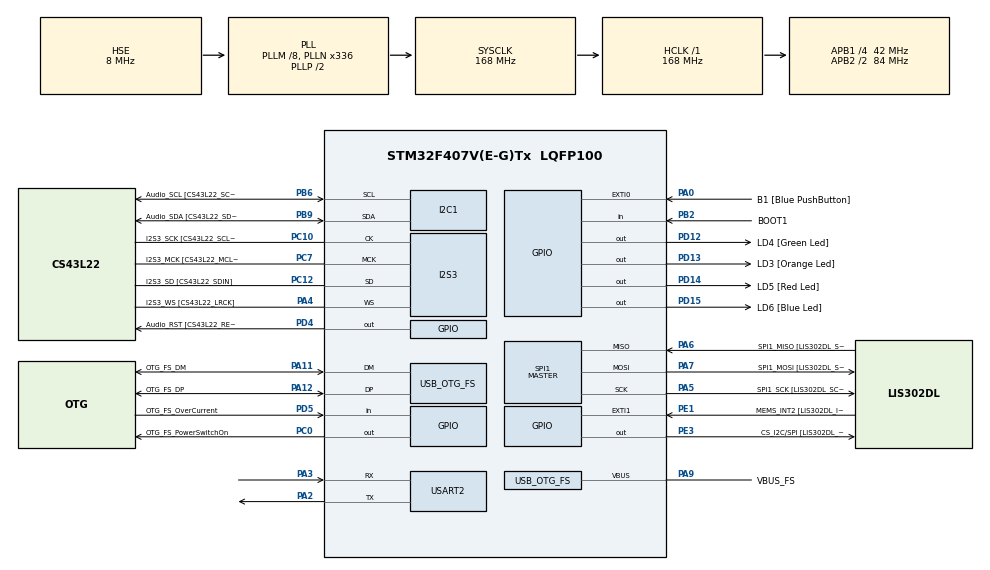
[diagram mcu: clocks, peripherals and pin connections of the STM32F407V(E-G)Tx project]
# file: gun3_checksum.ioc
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I2S3.AudioFreq-Half_Duplex_Master=I2S_AUDIOFREQ_96K
I2S3.ErrorAudioFreq=-2.34 %
I2S3.ErrorAudioFreq-Half_Duplex_Master=0.8 %
I2S3.FullDuplexMode=I2S_FULLDUPLEXMODE_DISABLE
I2S3.Instance=SPI$Index
I2S3.RealAudioFreq=93.75 KHz
I2S3.RealAudioFreq-Half_Duplex_Master=96.774 KHz
I2S3.VirtualMode=I2S_MODE_MASTER
Mcu.Family=STM32F4
Mcu.Name=STM32F407V(E-G)Tx
Mcu.Package=LQFP100
NVIC.OTG_FS_IRQn=true\:0\:0\:false\:false\:true\:true\:true\:true
NVIC.PriorityGroup=NVIC_PRIORITYGROUP_0
PA0-WKUP.GPIO_Label=B1 [Blue PushButton]
PA0-WKUP.GPIO_ModeDefaultEXTI=GPIO_MODE_EVT_RISING
PA0-WKUP.GPIO_PuPd=GPIO_NOPULL
PA0-WKUP.Signal=GPXTI0
PA10.GPIO_Label=OTG_FS_ID
PA10.GPIO_Mode=GPIO_MODE_AF_PP
PA10.GPIO_PuPd=GPIO_NOPULL
PA10.GPIO_Speed=GPIO_SPEED_FREQ_LOW
PA10.Signal=USB_OTG_FS_ID
PA11.GPIO_Label=OTG_FS_DM
PA11.GPIO_Mode=GPIO_MODE_AF_PP
PA11.GPIO_PuPd=GPIO_NOPULL
PA11.GPIO_Speed=GPIO_SPEED_FREQ_LOW
PA11.Mode=Host_Only
PA11.Signal=USB_OTG_FS_DM
PA12.GPIO_Label=OTG_FS_DP
PA12.GPIO_Mode=GPIO_MODE_AF_PP
PA12.GPIO_PuPd=GPIO_NOPULL
PA12.GPIO_Speed=GPIO_SPEED_FREQ_LOW
PA12.Mode=Host_Only
PA12.Signal=USB_OTG_FS_DP
PA13.GPIO_Label=SWDIO
PA13.Mode=Serial_Wire
PA13.Signal=SYS_JTMS-SWDIO
PA14.GPIO_Label=SWCLK
PA14.Mode=Serial_Wire
PA14.Signal=SYS_JTCK-SWCLK
PA2.Mode=Asynchronous
PA2.Signal=USART2_TX
PA3.Mode=Asynchronous
PA3.Signal=USART2_RX
PA4.GPIO_Label=I2S3_WS [CS43L22_LRCK]
PA4.GPIO_Mode=GPIO_MODE_AF_PP
PA4.GPIO_PuPd=GPIO_NOPULL
PA4.GPIO_Speed=GPIO_SPEED_FREQ_LOW
PA4.Mode=Half_Duplex_Master
PA4.Signal=I2S3_WS
PA5.GPIO_Label=SPI1_SCK [LIS302DL_SCL/SPC]
PA5.GPIO_Mode=GPIO_MODE_AF_PP
PA5.GPIO_PuPd=GPIO_NOPULL
PA5.GPIO_Speed=GPIO_SPEED_FREQ_LOW
PA5.Mode=Full_Duplex_Master
PA5.Signal=SPI1_SCK
PA6.GPIO_Label=SPI1_MISO [LIS302DL_SDO]
PA6.GPIO_Mode=GPIO_MODE_AF_PP
PA6.GPIO_PuPd=GPIO_NOPULL
PA6.GPIO_Speed=GPIO_SPEED_FREQ_LOW
PA6.Mode=Full_Duplex_Master
PA6.Signal=SPI1_MISO
PA7.GPIO_Label=SPI1_MOSI [LIS302DL_SDA/SDI/SDO]
PA7.GPIO_Mode=GPIO_MODE_AF_PP
PA7.GPIO_PuPd=GPIO_NOPULL
PA7.GPIO_Speed=GPIO_SPEED_FREQ_LOW
PA7.Mode=Full_Duplex_Master
PA7.Signal=SPI1_MOSI
PA9.GPIO_Label=VBUS_FS
PA9.GPIO_Mode=GPIO_MODE_INPUT
PA9.GPIO_PuPd=GPIO_NOPULL
PA9.Mode=Activate_VBUS
PA9.Signal=USB_OTG_FS_VBUS
PB10.GPIO_Label=CLK_IN [MP45DT02_CLK]
PB10.GPIO_Mode=GPIO_MODE_AF_PP
PB10.GPIO_PuPd=GPIO_NOPULL
PB10.GPIO_Speed=GPIO_SPEED_FREQ_LOW
PB10.Signal=I2S2_CK
PB2.GPIO_Label=BOOT1
PB2.GPIO_Mode=GPIO_MODE_INPUT
PB2.GPIO_PuPd=GPIO_NOPULL
PB2.Signal=GPIO_Input
PB3.GPIO_Label=SWO
PB3.Signal=SYS_JTDO-SWO
PB6.GPIO_Label=Audio_SCL [CS43L22_SCL]
PB6.GPIO_Mode=GPIO_MODE_AF_OD
PB6.GPIO_Pu=GPIO_PULLUP
PB6.GPIO_PuPd=GPIO_NOPULL
PB6.GPIO_Speed=GPIO_SPEED_FREQ_LOW
PB6.Mode=I2C
PB6.Signal=I2C1_SCL
PB9.GPIO_Label=Audio_SDA [CS43L22_SDA]
PB9.GPIO_Mode=GPIO_MODE_AF_OD
PB9.GPIO_Pu=GPIO_PULLUP
PB9.GPIO_PuPd=GPIO_NOPULL
PB9.GPIO_Speed=GPIO_SPEED_FREQ_LOW
PB9.Mode=I2C
PB9.Signal=I2C1_SDA
PC0.GPIO_Label=OTG_FS_PowerSwitchOn
PC0.GPIO_PuPd=GPIO_NOPULL
PC0.GPIO_Speed=GPIO_SPEED_FREQ_LOW
PC0.PinState=GPIO_PIN_SET
PC0.Signal=GPIO_Output
PC10.GPIO_Label=I2S3_SCK [CS43L22_SCLK]
PC10.GPIO_Mode=GPIO_MODE_AF_PP
PC10.GPIO_PuPd=GPIO_NOPULL
PC10.GPIO_Speed=GPIO_SPEED_FREQ_LOW
PC10.Mode=Half_Duplex_Master
PC10.Signal=I2S3_CK
PC12.GPIO_Label=I2S3_SD [CS43L22_SDIN]
PC12.GPIO_Mode=GPIO_MODE_AF_PP
PC12.GPIO_PuPd=GPIO_NOPULL
PC12.GPIO_Speed=GPIO_SPEED_FREQ_LOW
PC12.Mode=Half_Duplex_Master
PC12.Signal=I2S3_SD
PC14-OSC32_IN.GPIO_Label=PC14-OSC32_IN
PC14-OSC32_IN.Mode=LSE-External-Oscillator
PC14-OSC32_IN.Signal=RCC_OSC32_IN
PC15-OSC32_OUT.GPIO_Label=PC15-OSC32_OUT
PC15-OSC32_OUT.Mode=LSE-External-Oscillator
PC15-OSC32_OUT.Signal=RCC_OSC32_OUT
PC3.GPIO_Label=PDM_OUT [MP45DT02_DOUT]
PC3.GPIO_Mode=GPIO_MODE_AF_PP
PC3.GPIO_PuPd=GPIO_NOPULL
PC3.GPIO_Speed=GPIO_SPEED_FREQ_LOW
PC3.Signal=I2S2_SD
PC7.GPIO_Label=I2S3_MCK [CS43L22_MCLK]
PC7.GPIO_Mode=GPIO_MODE_AF_PP
PC7.GPIO_PuPd=GPIO_NOPULL
PC7.GPIO_Speed=GPIO_SPEED_FREQ_LOW
PC7.Mode=Master_Clock_Activated
PC7.Signal=I2S3_MCK
PD12.GPIO_Label=LD4 [Green Led]
PD12.GPIO_PuPd=GPIO_NOPULL
PD12.GPIO_Speed=GPIO_SPEED_FREQ_LOW
PD12.Signal=GPIO_Output
PD13.GPIO_Label=LD3 [Orange Led]
PD13.GPIO_PuPd=GPIO_NOPULL
PD13.GPIO_Speed=GPIO_SPEED_FREQ_LOW
PD13.Signal=GPIO_Output
PD14.GPIO_Label=LD5 [Red Led]
PD14.GPIO_PuPd=GPIO_NOPULL
PD14.GPIO_Speed=GPIO_SPEED_FREQ_LOW
PD14.Signal=GPIO_Output
PD15.GPIO_Label=LD6 [Blue Led]
PD15.GPIO_PuPd=GPIO_NOPULL
PD15.GPIO_Speed=GPIO_SPEED_FREQ_LOW
PD15.Signal=GPIO_Output
PD4.GPIO_Label=Audio_RST [CS43L22_RESET]
PD4.GPIO_PuPd=GPIO_NOPULL
PD4.GPIO_Speed=GPIO_SPEED_FREQ_LOW
PD4.Signal=GPIO_Output
PD5.GPIO_Label=OTG_FS_OverCurrent
PD5.GPIO_Mode=GPIO_MODE_INPUT
PD5.GPIO_PuPd=GPIO_NOPULL
PD5.Signal=GPIO_Input
PE1.GPIO_Label=MEMS_INT2 [LIS302DL_INT2]
PE1.GPIO_ModeDefaultEXTI=GPIO_MODE_EVT_RISING
PE1.GPIO_PuPd=GPIO_NOPULL
PE1.Signal=GPXTI1
PE3.GPIO_Label=CS_I2C/SPI [LIS302DL_CS_I2C/SPI]
PE3.GPIO_PuPd=GPIO_NOPULL
PE3.GPIO_Speed=GPIO_SPEED_FREQ_LOW
PE3.Signal=GPIO_Output
PH0-OSC_IN.GPIO_Label=PH0-OSC_IN
PH0-OSC_IN.Mode=HSE-External-Oscillator
PH0-OSC_IN.Signal=RCC_OSC_IN
PH1-OSC_OUT.GPIO_Label=PH1-OSC_OUT
PH1-OSC_OUT.Mode=HSE-External-Oscillator
PH1-OSC_OUT.Signal=RCC_OSC_OUT
ProjectManager.HeapSize=0x200
ProjectManager.StackSize=0x400
ProjectManager.TargetToolchain=STM32CubeIDE
RCC.48MHZClocksFreq_Value=48000000
RCC.AHBFreq_Value=168000000
RCC.APB1CLKDivider=RCC_HCLK_DIV4
RCC.APB1Freq_Value=42000000
RCC.APB1TimFreq_Value=84000000
RCC.APB2CLKDivider=RCC_HCLK_DIV2
RCC.APB2Freq_Value=84000000
RCC.APB2TimFreq_Value=168000000
RCC.CortexFreq_Value=168000000
RCC.HCLKFreq_Value=168000000
RCC.HSE_VALUE=8000000
RCC.HSI_VALUE=16000000
RCC.PLLM=8
RCC.PLLN=336
RCC.PLLQ=7
RCC.SYSCLKFreq_VALUE=168000000
RCC.SYSCLKSource=RCC_SYSCLKSOURCE_PLLCLK
RCC.VCOOutputFreq_Value=336000000
SPI1.BaudRatePrescaler-Full_Duplex_Master=SPI_BAUDRATEPRESCALER_2
SPI1.CalculateBaudRate-Full_Duplex_Master=42.0 MBits/s
SPI1.Direction=SPI_DIRECTION_2LINES
SPI1.Mode=SPI_MODE_MASTER
SPI1.Mode-Full_Duplex_Master=SPI_MODE_MASTER
SPI1.VirtualType=VM_MASTER
USART2.VirtualMode=VM_ASYNC
USB_HOST.BSP.number=1
USB_HOST.USBH_HandleTypeDef-CDC_FS=hUsbHostFS
USB_HOST.VirtualModeFS=Cdc
USB_HOST0.BSP.STBoard=false
USB_HOST0.BSP.api=Unknown
USB_HOST0.BSP.i2caddr=0
USB_HOST0.BSP.i2creg=0
USB_HOST0.BSP.instance=PC0
USB_HOST0.BSP.ip=GPIO
USB_HOST0.BSP.mode=Output
USB_HOST0.BSP.name=Drive_VBUS_FS
USB_HOST0.BSP.solution=PC0
USB_OTG_FS.VirtualMode=Host_Only
USB_OTG_FS.phy_itface=HCD_PHY_EMBEDDED
VP_USB_HOST_VS_USB_HOST_CDC_FS.Mode=CDC_FS
board=STM32F407G-DISC1

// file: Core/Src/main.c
/* USER CODE BEGIN Header */
/**
  ******************************************************************************
  * @file           : main.c
  * @brief          : Main program body
  ******************************************************************************
  * @attention
  *
  * Copyright (c) 2022 STMicroelectronics.
  * All rights reserved.
  *
  * This software is licensed under terms that can be found in the LICENSE file
  * in the root directory of this software component.
  * If no LICENSE file comes with this software, it is provided AS-IS.
  *
  ******************************************************************************
  */
/* USER CODE END Header */
#include "main.h"

/* USER CODE BEGIN Includes */
#include "checksumbutton.h"
#include "checksumled.h"
#include "string.h"
/* USER CODE END Includes */

 I2C_HandleTypeDef hi2c1;

I2S_HandleTypeDef hi2s3;

SPI_HandleTypeDef hspi1;

UART_HandleTypeDef huart2;

/* USER CODE BEGIN PV */
uint8_t status = 0;
uint8_t i = 0;
uint8_t toplam = 0;
uint8_t checksum = 0;
uint8_t rbuffer[1];
uint8_t tbuffer[10] = {1,2,3,4,5,6,7,8,9,0};

/* USER CODE END PV */

void SystemClock_Config(void);
static void MX_GPIO_Init(void);
static void MX_I2C1_Init(void);
static void MX_I2S3_Init(void);
static void MX_SPI1_Init(void);
static void MX_USART2_UART_Init(void);
void MX_USB_HOST_Process(void);

int main(void)
{

  /* MCU Configuration--------------------------------------------------------*/

  /* Reset of all peripherals, Initializes the Flash interface and the Systick. */
  HAL_Init();

  /* Configure the system clock */
  SystemClock_Config();

  /* Initialize all configured peripherals */
  MX_GPIO_Init();
  MX_I2C1_Init();
  MX_I2S3_Init();
  MX_SPI1_Init();
  MX_USART2_UART_Init();

  /* Infinite loop */
  while (1)
  {

    /* USER CODE BEGIN 3 */

	  HAL_Delay(100);

	  	  	if (status==0 &&  (HAL_GPIO_ReadPin(GPIOA,GPIO_PIN_0)==GPIO_PIN_RESET))
	  	  	{
	  	  		//while((HAL_GPIO_ReadPin(GPIOA,button6Stream_Pin)==GPIO_PIN_SET));

	  	  		status=0;
	  	  	}
	  	  	//sadece buton low olduğunda ve status=0 olduğunda buton flagini 1 yapıyoruz ve buton okuması gerçekleştiriyoruz
	  	  	else if( (status==0 &&  HAL_GPIO_ReadPin(GPIOA,GPIO_PIN_0)==GPIO_PIN_SET) )
	  	  	{
	  	  		status=1;

	  	  		button();
	  	  		toplam = 0;
	  	  	}
	  	  	else if (status==1 &&  (HAL_GPIO_ReadPin(GPIOA,GPIO_PIN_0)==GPIO_PIN_RESET))
	  	  	{
	  	  		status=0;
	  	  	}
	  	  	else if (status==1 &&  (HAL_GPIO_ReadPin(GPIOA,GPIO_PIN_0)==GPIO_PIN_SET))
	  	  	{
	  	  		status=1;
	  	  	}
	  	  	else {}

	   	   HAL_UART_Receive(&huart2, (uint8_t*)rbuffer, 1 , 100);

	  	  	if (rbuffer[0] != '\0')
	  	  	{
	  	  		led();
	  	  		//memset(rbuffer,'\0',sizeof(rbuffer));
	  	  	}

  }
  /* USER CODE END 3 */
}

void SystemClock_Config(void)
{
  RCC_OscInitTypeDef RCC_OscInitStruct = {0};
  RCC_ClkInitTypeDef RCC_ClkInitStruct = {0};

  /** Configure the main internal regulator output voltage
  */
  __HAL_RCC_PWR_CLK_ENABLE();
  __HAL_PWR_VOLTAGESCALING_CONFIG(PWR_REGULATOR_VOLTAGE_SCALE1);

  /** Initializes the RCC Oscillators according to the specified parameters
  * in the RCC_OscInitTypeDef structure.
  */
  RCC_OscInitStruct.OscillatorType = RCC_OSCILLATORTYPE_HSE;
  RCC_OscInitStruct.HSEState = RCC_HSE_ON;
  RCC_OscInitStruct.PLL.PLLState = RCC_PLL_ON;
  RCC_OscInitStruct.PLL.PLLSource = RCC_PLLSOURCE_HSE;
  RCC_OscInitStruct.PLL.PLLM = 8;
  RCC_OscInitStruct.PLL.PLLN = 336;
  RCC_OscInitStruct.PLL.PLLP = RCC_PLLP_DIV2;
  RCC_OscInitStruct.PLL.PLLQ = 7;
  if (HAL_RCC_OscConfig(&RCC_OscInitStruct) != HAL_OK)
  {
    Error_Handler();
  }

  /** Initializes the CPU, AHB and APB buses clocks
  */
  RCC_ClkInitStruct.ClockType = RCC_CLOCKTYPE_HCLK|RCC_CLOCKTYPE_SYSCLK
                              |RCC_CLOCKTYPE_PCLK1|RCC_CLOCKTYPE_PCLK2;
  RCC_ClkInitStruct.SYSCLKSource = RCC_SYSCLKSOURCE_PLLCLK;
  RCC_ClkInitStruct.AHBCLKDivider = RCC_SYSCLK_DIV1;
  RCC_ClkInitStruct.APB1CLKDivider = RCC_HCLK_DIV4;
  RCC_ClkInitStruct.APB2CLKDivider = RCC_HCLK_DIV2;

  if (HAL_RCC_ClockConfig(&RCC_ClkInitStruct, FLASH_LATENCY_5) != HAL_OK)
  {
    Error_Handler();
  }
}

static void MX_I2C1_Init(void)
{

  hi2c1.Instance = I2C1;
  hi2c1.Init.ClockSpeed = 100000;
  hi2c1.Init.DutyCycle = I2C_DUTYCYCLE_2;
  hi2c1.Init.OwnAddress1 = 0;
  hi2c1.Init.AddressingMode = I2C_ADDRESSINGMODE_7BIT;
  hi2c1.Init.DualAddressMode = I2C_DUALADDRESS_DISABLE;
  hi2c1.Init.OwnAddress2 = 0;
  hi2c1.Init.GeneralCallMode = I2C_GENERALCALL_DISABLE;
  hi2c1.Init.NoStretchMode = I2C_NOSTRETCH_DISABLE;
  if (HAL_I2C_Init(&hi2c1) != HAL_OK)
  {
    Error_Handler();
  }

}

static void MX_I2S3_Init(void)
{

  hi2s3.Instance = SPI3;
  hi2s3.Init.Mode = I2S_MODE_MASTER_TX;
  hi2s3.Init.Standard = I2S_STANDARD_PHILIPS;
  hi2s3.Init.DataFormat = I2S_DATAFORMAT_16B;
  hi2s3.Init.MCLKOutput = I2S_MCLKOUTPUT_ENABLE;
  hi2s3.Init.AudioFreq = I2S_AUDIOFREQ_96K;
  hi2s3.Init.CPOL = I2S_CPOL_LOW;
  hi2s3.Init.ClockSource = I2S_CLOCK_PLL;
  hi2s3.Init.FullDuplexMode = I2S_FULLDUPLEXMODE_DISABLE;
  if (HAL_I2S_Init(&hi2s3) != HAL_OK)
  {
    Error_Handler();
  }

}

static void MX_SPI1_Init(void)
{

  /* SPI1 parameter configuration*/
  hspi1.Instance = SPI1;
  hspi1.Init.Mode = SPI_MODE_MASTER;
  hspi1.Init.Direction = SPI_DIRECTION_2LINES;
  hspi1.Init.DataSize = SPI_DATASIZE_8BIT;
  hspi1.Init.CLKPolarity = SPI_POLARITY_LOW;
  hspi1.Init.CLKPhase = SPI_PHASE_1EDGE;
  hspi1.Init.NSS = SPI_NSS_SOFT;
  hspi1.Init.BaudRatePrescaler = SPI_BAUDRATEPRESCALER_2;
  hspi1.Init.FirstBit = SPI_FIRSTBIT_MSB;
  hspi1.Init.TIMode = SPI_TIMODE_DISABLE;
  hspi1.Init.CRCCalculation = SPI_CRCCALCULATION_DISABLE;
  hspi1.Init.CRCPolynomial = 10;
  if (HAL_SPI_Init(&hspi1) != HAL_OK)
  {
    Error_Handler();
  }

}

static void MX_USART2_UART_Init(void)
{

  huart2.Instance = USART2;
  huart2.Init.BaudRate = 115200;
  huart2.Init.WordLength = UART_WORDLENGTH_8B;
  huart2.Init.StopBits = UART_STOPBITS_1;
  huart2.Init.Parity = UART_PARITY_NONE;
  huart2.Init.Mode = UART_MODE_TX_RX;
  huart2.Init.HwFlowCtl = UART_HWCONTROL_NONE;
  huart2.Init.OverSampling = UART_OVERSAMPLING_16;
  if (HAL_UART_Init(&huart2) != HAL_OK)
  {
    Error_Handler();
  }

}

static void MX_GPIO_Init(void)
{
  GPIO_InitTypeDef GPIO_InitStruct = {0};

  /* GPIO Ports Clock Enable */
  __HAL_RCC_GPIOE_CLK_ENABLE();
  __HAL_RCC_GPIOC_CLK_ENABLE();
  __HAL_RCC_GPIOH_CLK_ENABLE();
  __HAL_RCC_GPIOA_CLK_ENABLE();
  __HAL_RCC_GPIOB_CLK_ENABLE();
  __HAL_RCC_GPIOD_CLK_ENABLE();

  /*Configure GPIO pin Output Level */
  HAL_GPIO_WritePin(CS_I2C_SPI_GPIO_Port, CS_I2C_SPI_Pin, GPIO_PIN_RESET);

  /*Configure GPIO pin Output Level */
  HAL_GPIO_WritePin(OTG_FS_PowerSwitchOn_GPIO_Port, OTG_FS_PowerSwitchOn_Pin, GPIO_PIN_SET);

  /*Configure GPIO pin Output Level */
  HAL_GPIO_WritePin(GPIOD, LD4_Pin|LD3_Pin|LD5_Pin|LD6_Pin
                          |Audio_RST_Pin, GPIO_PIN_RESET);

  /*Configure GPIO pin : CS_I2C_SPI_Pin */
  GPIO_InitStruct.Pin = CS_I2C_SPI_Pin;
  GPIO_InitStruct.Mode = GPIO_MODE_OUTPUT_PP;
  GPIO_InitStruct.Pull = GPIO_NOPULL;
  GPIO_InitStruct.Speed = GPIO_SPEED_FREQ_LOW;
  HAL_GPIO_Init(CS_I2C_SPI_GPIO_Port, &GPIO_InitStruct);

  /*Configure GPIO pin : OTG_FS_PowerSwitchOn_Pin */
  GPIO_InitStruct.Pin = OTG_FS_PowerSwitchOn_Pin;
  GPIO_InitStruct.Mode = GPIO_MODE_OUTPUT_PP;
  GPIO_InitStruct.Pull = GPIO_NOPULL;
  GPIO_InitStruct.Speed = GPIO_SPEED_FREQ_LOW;
  HAL_GPIO_Init(OTG_FS_PowerSwitchOn_GPIO_Port, &GPIO_InitStruct);

  /*Configure GPIO pin : PDM_OUT_Pin */
  GPIO_InitStruct.Pin = PDM_OUT_Pin;
  GPIO_InitStruct.Mode = GPIO_MODE_AF_PP;
  GPIO_InitStruct.Pull = GPIO_NOPULL;
  GPIO_InitStruct.Speed = GPIO_SPEED_FREQ_LOW;
  GPIO_InitStruct.Alternate = GPIO_AF5_SPI2;
  HAL_GPIO_Init(PDM_OUT_GPIO_Port, &GPIO_InitStruct);

  /*Configure GPIO pin : B1_Pin */
  GPIO_InitStruct.Pin = B1_Pin;
  GPIO_InitStruct.Mode = GPIO_MODE_EVT_RISING;
  GPIO_InitStruct.Pull = GPIO_NOPULL;
  HAL_GPIO_Init(B1_GPIO_Port, &GPIO_InitStruct);

  /*Configure GPIO pin : BOOT1_Pin */
  GPIO_InitStruct.Pin = BOOT1_Pin;
  GPIO_InitStruct.Mode = GPIO_MODE_INPUT;
  GPIO_InitStruct.Pull = GPIO_NOPULL;
  HAL_GPIO_Init(BOOT1_GPIO_Port, &GPIO_InitStruct);

  /*Configure GPIO pin : CLK_IN_Pin */
  GPIO_InitStruct.Pin = CLK_IN_Pin;
  GPIO_InitStruct.Mode = GPIO_MODE_AF_PP;
  GPIO_InitStruct.Pull = GPIO_NOPULL;
  GPIO_InitStruct.Speed = GPIO_SPEED_FREQ_LOW;
  GPIO_InitStruct.Alternate = GPIO_AF5_SPI2;
  HAL_GPIO_Init(CLK_IN_GPIO_Port, &GPIO_InitStruct);

  /*Configure GPIO pins : LD4_Pin LD3_Pin LD5_Pin LD6_Pin
                           Audio_RST_Pin */
  GPIO_InitStruct.Pin = LD4_Pin|LD3_Pin|LD5_Pin|LD6_Pin
                          |Audio_RST_Pin;
  GPIO_InitStruct.Mode = GPIO_MODE_OUTPUT_PP;
  GPIO_InitStruct.Pull = GPIO_NOPULL;
  GPIO_InitStruct.Speed = GPIO_SPEED_FREQ_LOW;
  HAL_GPIO_Init(GPIOD, &GPIO_InitStruct);

  /*Configure GPIO pin : OTG_FS_OverCurrent_Pin */
  GPIO_InitStruct.Pin = OTG_FS_OverCurrent_Pin;
  GPIO_InitStruct.Mode = GPIO_MODE_INPUT;
  GPIO_InitStruct.Pull = GPIO_NOPULL;
  HAL_GPIO_Init(OTG_FS_OverCurrent_GPIO_Port, &GPIO_InitStruct);

  /*Configure GPIO pin : MEMS_INT2_Pin */
  GPIO_InitStruct.Pin = MEMS_INT2_Pin;
  GPIO_InitStruct.Mode = GPIO_MODE_EVT_RISING;
  GPIO_InitStruct.Pull = GPIO_NOPULL;
  HAL_GPIO_Init(MEMS_INT2_GPIO_Port, &GPIO_InitStruct);

}

void Error_Handler(void)
{
  __disable_irq();
  while (1)
  {
  }
}
